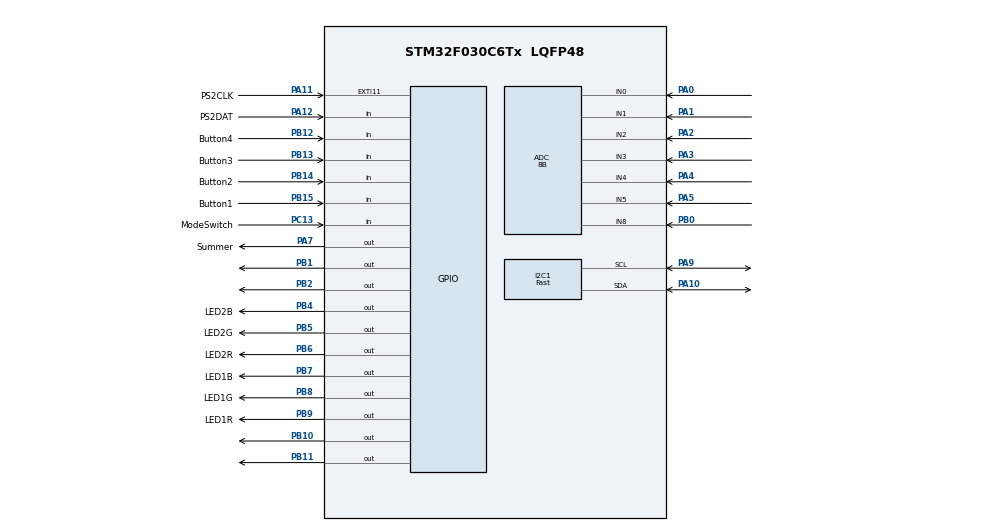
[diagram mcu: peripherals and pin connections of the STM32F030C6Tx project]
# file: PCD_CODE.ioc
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ADC.Resolution=ADC_RESOLUTION_8B
I2C1.I2C_Speed_Mode=I2C_Fast
I2C1.Timing=0x0010020A
Mcu.Family=STM32F0
Mcu.Name=STM32F030C6Tx
Mcu.Package=LQFP48
NVIC.EXTI4_15_IRQn=true\:0\:0\:false\:false\:true\:true\:true\:true
NVIC.TIM14_IRQn=true\:0\:0\:false\:false\:true\:true\:true\:true
PA0.Mode=IN0
PA0.Signal=ADC_IN0
PA1.Mode=IN1
PA1.Signal=ADC_IN1
PA10.Mode=I2C
PA10.Signal=I2C1_SDA
PA11.GPIO_Label=PS2CLK
PA11.GPIO_ModeDefaultEXTI=GPIO_MODE_IT_FALLING
PA11.Signal=GPXTI11
PA12.GPIO_Label=PS2DAT
PA12.Signal=GPIO_Input
PA2.Mode=IN2
PA2.Signal=ADC_IN2
PA3.Mode=IN3
PA3.Signal=ADC_IN3
PA4.Mode=IN4
PA4.Signal=ADC_IN4
PA5.Mode=IN5
PA5.Signal=ADC_IN5
PA7.GPIO_Label=Summer
PA7.Signal=GPIO_Output
PA9.Mode=I2C
PA9.Signal=I2C1_SCL
PB0.Mode=IN8
PB0.Signal=ADC_IN8
PB1.Signal=GPIO_Output
PB10.Signal=GPIO_Output
PB11.Signal=GPIO_Output
PB12.GPIO_Label=Button4
PB12.GPIO_PuPd=GPIO_PULLUP
PB12.Signal=GPIO_Input
PB13.GPIO_Label=Button3
PB13.GPIO_PuPd=GPIO_PULLUP
PB13.Signal=GPIO_Input
PB14.GPIO_Label=Button2
PB14.GPIO_PuPd=GPIO_PULLUP
PB14.Signal=GPIO_Input
PB15.GPIO_Label=Button1
PB15.GPIO_PuPd=GPIO_PULLUP
PB15.Signal=GPIO_Input
PB2.Signal=GPIO_Output
PB4.GPIO_Label=LED2B
PB4.PinState=GPIO_PIN_SET
PB4.Signal=GPIO_Output
PB5.GPIO_Label=LED2G
PB5.PinState=GPIO_PIN_SET
PB5.Signal=GPIO_Output
PB6.GPIO_Label=LED2R
PB6.PinState=GPIO_PIN_SET
PB6.Signal=GPIO_Output
PB7.GPIO_Label=LED1B
PB7.PinState=GPIO_PIN_SET
PB7.Signal=GPIO_Output
PB8.GPIO_Label=LED1G
PB8.PinState=GPIO_PIN_SET
PB8.Signal=GPIO_Output
PB9.GPIO_Label=LED1R
PB9.PinState=GPIO_PIN_SET
PB9.Signal=GPIO_Output
PC13.GPIO_Label=ModeSwitch
PC13.Signal=GPIO_Input
ProjectManager.HeapSize=0x200
ProjectManager.StackSize=0x400
ProjectManager.TargetToolchain=CMake
TIM14.Prescaler=8
VP_TIM14_VS_ClockSourceINT.Mode=Enable_Timer
board=custom

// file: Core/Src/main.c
/* USER CODE BEGIN Header */
/**
  ******************************************************************************
  * @file           main.c
  * @brief          Main program body
  ******************************************************************************
  * @attention
  *
  * Copyright (c) 2025 STMicroelectronics.
  * All rights reserved.
  *
  * This software is licensed under terms that can be found in the LICENSE file
  * in the root directory of this software component.
  * If no LICENSE file comes with this software, it is provided AS-IS.
  *
  ******************************************************************************
  */
/* USER CODE END Header */
#include "main.h"

/* USER CODE BEGIN Includes */
long keyBuffer = 0;
char framePos = 0;
#include "Display.h"
#include "PS2Driver.h"
#include "InstructionList.h"
#include "STM_FUNCTIONS.h"
#include "EEPROM.h"

/* USER CODE END Includes */

ADC_HandleTypeDef hadc;

I2C_HandleTypeDef hi2c1;

TIM_HandleTypeDef htim14;

void SystemClock_Config(void);
static void MX_GPIO_Init(void);
static void MX_I2C1_Init(void);
static void MX_ADC_Init(void);
static void MX_TIM14_Init(void);

int main(void)
{

  /* MCU Configuration--------------------------------------------------------*/

  /* Reset of all peripherals, Initializes the Flash interface and the Systick. */
  HAL_Init();

  /* Configure the system clock */
  SystemClock_Config();

  /* Initialize all configured peripherals */
  MX_GPIO_Init();
  MX_I2C1_Init();
  MX_ADC_Init();
  MX_TIM14_Init();
  /* USER CODE BEGIN 2 */
  HAL_TIM_Base_Start_IT(&htim14);
	HAL_Delay(1);
  HAL_Delay(100);
  Display_Init();
  HAL_Delay(100);
  /* USER CODE END 2 */

  /* Infinite loop */
  /* USER CODE BEGIN WHILE */

  while (1)
  {
	  /*
	  char numChars[3];
	  STM_Number3ToChar(STM_ReadADC(8), numChars);
	  for(int i = 0; i < 3; i++)
	  {
		  Display_WriteCharacter(numChars[i],i,0);
	  }
	  */
	  InstructionList_ProgrammingMode();
	  InstructionList_ExecutingMode();
    /* USER CODE END WHILE */

  }
}

void SystemClock_Config(void)
{
  RCC_OscInitTypeDef RCC_OscInitStruct = {0};
  RCC_ClkInitTypeDef RCC_ClkInitStruct = {0};
  RCC_PeriphCLKInitTypeDef PeriphClkInit = {0};

  /** Initializes the RCC Oscillators according to the specified parameters
  * in the RCC_OscInitTypeDef structure.
  */
  RCC_OscInitStruct.OscillatorType = RCC_OSCILLATORTYPE_HSI|RCC_OSCILLATORTYPE_HSI14;
  RCC_OscInitStruct.HSIState = RCC_HSI_ON;
  RCC_OscInitStruct.HSI14State = RCC_HSI14_ON;
  RCC_OscInitStruct.HSICalibrationValue = RCC_HSICALIBRATION_DEFAULT;
  RCC_OscInitStruct.HSI14CalibrationValue = 16;
  RCC_OscInitStruct.PLL.PLLState = RCC_PLL_NONE;
  if (HAL_RCC_OscConfig(&RCC_OscInitStruct) != HAL_OK)
  {
    Error_Handler();
  }

  /** Initializes the CPU, AHB and APB buses clocks
  */
  RCC_ClkInitStruct.ClockType = RCC_CLOCKTYPE_HCLK|RCC_CLOCKTYPE_SYSCLK
                              |RCC_CLOCKTYPE_PCLK1;
  RCC_ClkInitStruct.SYSCLKSource = RCC_SYSCLKSOURCE_HSI;
  RCC_ClkInitStruct.AHBCLKDivider = RCC_SYSCLK_DIV1;
  RCC_ClkInitStruct.APB1CLKDivider = RCC_HCLK_DIV1;

  if (HAL_RCC_ClockConfig(&RCC_ClkInitStruct, FLASH_LATENCY_0) != HAL_OK)
  {
    Error_Handler();
  }
  PeriphClkInit.PeriphClockSelection = RCC_PERIPHCLK_I2C1;
  PeriphClkInit.I2c1ClockSelection = RCC_I2C1CLKSOURCE_HSI;
  if (HAL_RCCEx_PeriphCLKConfig(&PeriphClkInit) != HAL_OK)
  {
    Error_Handler();
  }
}

static void MX_ADC_Init(void)
{

  ADC_ChannelConfTypeDef sConfig = {0};

  /** Configure the global features of the ADC (Clock, Resolution, Data Alignment and number of conversion)
  */
  hadc.Instance = ADC1;
  hadc.Init.ClockPrescaler = ADC_CLOCK_ASYNC_DIV1;
  hadc.Init.Resolution = ADC_RESOLUTION_8B;
  hadc.Init.DataAlign = ADC_DATAALIGN_RIGHT;
  hadc.Init.ScanConvMode = ADC_SCAN_DIRECTION_FORWARD;
  hadc.Init.EOCSelection = ADC_EOC_SINGLE_CONV;
  hadc.Init.LowPowerAutoWait = DISABLE;
  hadc.Init.LowPowerAutoPowerOff = DISABLE;
  hadc.Init.ContinuousConvMode = DISABLE;
  hadc.Init.DiscontinuousConvMode = DISABLE;
  hadc.Init.ExternalTrigConv = ADC_SOFTWARE_START;
  hadc.Init.ExternalTrigConvEdge = ADC_EXTERNALTRIGCONVEDGE_NONE;
  hadc.Init.DMAContinuousRequests = DISABLE;
  hadc.Init.Overrun = ADC_OVR_DATA_PRESERVED;
  if (HAL_ADC_Init(&hadc) != HAL_OK)
  {
    Error_Handler();
  }

  /** Configure for the selected ADC regular channel to be converted.
  */
  sConfig.Channel = ADC_CHANNEL_0;
  sConfig.Rank = ADC_RANK_CHANNEL_NUMBER;
  sConfig.SamplingTime = ADC_SAMPLETIME_1CYCLE_5;
  if (HAL_ADC_ConfigChannel(&hadc, &sConfig) != HAL_OK)
  {
    Error_Handler();
  }

  /** Configure for the selected ADC regular channel to be converted.
  */
  sConfig.Channel = ADC_CHANNEL_1;
  if (HAL_ADC_ConfigChannel(&hadc, &sConfig) != HAL_OK)
  {
    Error_Handler();
  }

  /** Configure for the selected ADC regular channel to be converted.
  */
  sConfig.Channel = ADC_CHANNEL_2;
  if (HAL_ADC_ConfigChannel(&hadc, &sConfig) != HAL_OK)
  {
    Error_Handler();
  }

  /** Configure for the selected ADC regular channel to be converted.
  */
  sConfig.Channel = ADC_CHANNEL_3;
  if (HAL_ADC_ConfigChannel(&hadc, &sConfig) != HAL_OK)
  {
    Error_Handler();
  }

  /** Configure for the selected ADC regular channel to be converted.
  */
  sConfig.Channel = ADC_CHANNEL_4;
  if (HAL_ADC_ConfigChannel(&hadc, &sConfig) != HAL_OK)
  {
    Error_Handler();
  }

  /** Configure for the selected ADC regular channel to be converted.
  */
  sConfig.Channel = ADC_CHANNEL_5;
  if (HAL_ADC_ConfigChannel(&hadc, &sConfig) != HAL_OK)
  {
    Error_Handler();
  }

  /** Configure for the selected ADC regular channel to be converted.
  */
  sConfig.Channel = ADC_CHANNEL_8;
  if (HAL_ADC_ConfigChannel(&hadc, &sConfig) != HAL_OK)
  {
    Error_Handler();
  }

}

static void MX_I2C1_Init(void)
{

  hi2c1.Instance = I2C1;
  hi2c1.Init.Timing = 0x0010020A;
  hi2c1.Init.OwnAddress1 = 0;
  hi2c1.Init.AddressingMode = I2C_ADDRESSINGMODE_7BIT;
  hi2c1.Init.DualAddressMode = I2C_DUALADDRESS_DISABLE;
  hi2c1.Init.OwnAddress2 = 0;
  hi2c1.Init.OwnAddress2Masks = I2C_OA2_NOMASK;
  hi2c1.Init.GeneralCallMode = I2C_GENERALCALL_DISABLE;
  hi2c1.Init.NoStretchMode = I2C_NOSTRETCH_DISABLE;
  if (HAL_I2C_Init(&hi2c1) != HAL_OK)
  {
    Error_Handler();
  }

  /** Configure Analogue filter
  */
  if (HAL_I2CEx_ConfigAnalogFilter(&hi2c1, I2C_ANALOGFILTER_ENABLE) != HAL_OK)
  {
    Error_Handler();
  }

  /** Configure Digital filter
  */
  if (HAL_I2CEx_ConfigDigitalFilter(&hi2c1, 0) != HAL_OK)
  {
    Error_Handler();
  }

}

static void MX_TIM14_Init(void)
{

  htim14.Instance = TIM14;
  htim14.Init.Prescaler = 8;
  htim14.Init.CounterMode = TIM_COUNTERMODE_UP;
  htim14.Init.Period = 65535;
  htim14.Init.ClockDivision = TIM_CLOCKDIVISION_DIV1;
  htim14.Init.AutoReloadPreload = TIM_AUTORELOAD_PRELOAD_DISABLE;
  if (HAL_TIM_Base_Init(&htim14) != HAL_OK)
  {
    Error_Handler();
  }

}

static void MX_GPIO_Init(void)
{
  GPIO_InitTypeDef GPIO_InitStruct = {0};

  /* GPIO Ports Clock Enable */
  __HAL_RCC_GPIOC_CLK_ENABLE();
  __HAL_RCC_GPIOA_CLK_ENABLE();
  __HAL_RCC_GPIOB_CLK_ENABLE();

  /*Configure GPIO pin Output Level */
  HAL_GPIO_WritePin(Summer_GPIO_Port, Summer_Pin, GPIO_PIN_RESET);

  /*Configure GPIO pin Output Level */
  HAL_GPIO_WritePin(GPIOB, GPIO_PIN_1|GPIO_PIN_2|GPIO_PIN_10|GPIO_PIN_11, GPIO_PIN_RESET);

  /*Configure GPIO pin Output Level */
  HAL_GPIO_WritePin(GPIOB, LED2B_Pin|LED2G_Pin|LED2R_Pin|LED1B_Pin
                          |LED1G_Pin|LED1R_Pin, GPIO_PIN_SET);

  /*Configure GPIO pin : ModeSwitch_Pin */
  GPIO_InitStruct.Pin = ModeSwitch_Pin;
  GPIO_InitStruct.Mode = GPIO_MODE_INPUT;
  GPIO_InitStruct.Pull = GPIO_NOPULL;
  HAL_GPIO_Init(ModeSwitch_GPIO_Port, &GPIO_InitStruct);

  /*Configure GPIO pin : Summer_Pin */
  GPIO_InitStruct.Pin = Summer_Pin;
  GPIO_InitStruct.Mode = GPIO_MODE_OUTPUT_PP;
  GPIO_InitStruct.Pull = GPIO_NOPULL;
  GPIO_InitStruct.Speed = GPIO_SPEED_FREQ_LOW;
  HAL_GPIO_Init(Summer_GPIO_Port, &GPIO_InitStruct);

  /*Configure GPIO pins : PB1 PB2 PB10 PB11
                           LED2B_Pin LED2G_Pin LED2R_Pin LED1B_Pin
                           LED1G_Pin LED1R_Pin */
  GPIO_InitStruct.Pin = GPIO_PIN_1|GPIO_PIN_2|GPIO_PIN_10|GPIO_PIN_11
                          |LED2B_Pin|LED2G_Pin|LED2R_Pin|LED1B_Pin
                          |LED1G_Pin|LED1R_Pin;
  GPIO_InitStruct.Mode = GPIO_MODE_OUTPUT_PP;
  GPIO_InitStruct.Pull = GPIO_NOPULL;
  GPIO_InitStruct.Speed = GPIO_SPEED_FREQ_LOW;
  HAL_GPIO_Init(GPIOB, &GPIO_InitStruct);

  /*Configure GPIO pins : Button4_Pin Button3_Pin Button2_Pin Button1_Pin */
  GPIO_InitStruct.Pin = Button4_Pin|Button3_Pin|Button2_Pin|Button1_Pin;
  GPIO_InitStruct.Mode = GPIO_MODE_INPUT;
  GPIO_InitStruct.Pull = GPIO_PULLUP;
  HAL_GPIO_Init(GPIOB, &GPIO_InitStruct);

  /*Configure GPIO pin : PS2CLK_Pin */
  GPIO_InitStruct.Pin = PS2CLK_Pin;
  GPIO_InitStruct.Mode = GPIO_MODE_IT_FALLING;
  GPIO_InitStruct.Pull = GPIO_NOPULL;
  HAL_GPIO_Init(PS2CLK_GPIO_Port, &GPIO_InitStruct);

  /*Configure GPIO pin : PS2DAT_Pin */
  GPIO_InitStruct.Pin = PS2DAT_Pin;
  GPIO_InitStruct.Mode = GPIO_MODE_INPUT;
  GPIO_InitStruct.Pull = GPIO_NOPULL;
  HAL_GPIO_Init(PS2DAT_GPIO_Port, &GPIO_InitStruct);

  /* EXTI interrupt init*/
  HAL_NVIC_SetPriority(EXTI4_15_IRQn, 0, 0);
  HAL_NVIC_EnableIRQ(EXTI4_15_IRQn);

}

/* USER CODE BEGIN 4 */

void HAL_GPIO_EXTI_Callback(uint16_t GPIO_Pin)
{
	keyBuffer = (keyBuffer << 1) | HAL_GPIO_ReadPin (PS2DAT_GPIO_Port, PS2DAT_Pin);
	framePos++;
	if(framePos > 11)
	{
		framePos = 1;
	}
}

uint8_t j = 0;

void HAL_TIM_PeriodElapsedCallback(TIM_HandleTypeDef *htim)
{
	if(j == 0)
	{
		HAL_GPIO_WritePin(Summer_GPIO_Port, Summer_Pin, GPIO_PIN_SET);
		j = 1;
	}
	else
	{
		HAL_GPIO_WritePin(Summer_GPIO_Port, Summer_Pin, GPIO_PIN_RESET);
		j = 0;
	}
}

/* USER CODE END 4 */

void Error_Handler(void)
{
  __disable_irq();
  while (1)
  {
  }
}
